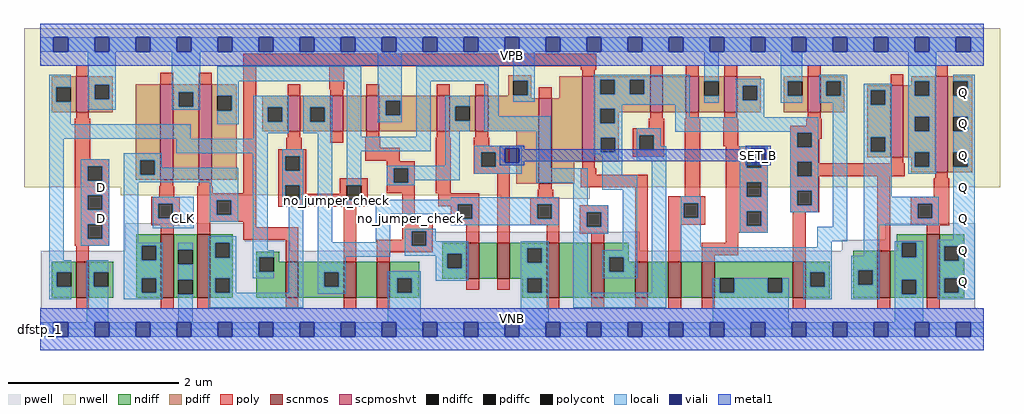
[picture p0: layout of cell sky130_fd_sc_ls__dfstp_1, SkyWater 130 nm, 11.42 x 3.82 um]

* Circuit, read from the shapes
.subckt sky130_fd_sc_ls__dfstp_1 CLK D SET_B VGND VNB VPB VPWR Q
XM1 VGND D n1 VNB sky130_fd_pr__nfet_01v8 w=0.42 l=0.15
XM2 VGND CLK n2 VNB sky130_fd_pr__nfet_01v8 w=0.74 l=0.15
XM3 n3 n2 VGND VNB sky130_fd_pr__nfet_01v8 w=0.74 l=0.15
XM4 n4 n2 n1 VNB sky130_fd_pr__nfet_01v8 w=0.42 l=0.15
XM5 n5 n3 n4 VNB sky130_fd_pr__nfet_01v8 w=0.42 l=0.15
XM6 VGND n6 n5 VNB sky130_fd_pr__nfet_01v8 w=0.42 l=0.15
XM7 n7 n4 n6 VNB sky130_fd_pr__nfet_01v8 w=0.42 l=0.15
XM8 VGND SET_B n7 VNB sky130_fd_pr__nfet_01v8 w=0.42 l=0.15
XM9 n8 n4 VGND VNB sky130_fd_pr__nfet_01v8 w=0.64 l=0.15
XM10 n9 n3 n8 VNB sky130_fd_pr__nfet_01v8 w=0.64 l=0.15
XM11 n10 n2 n9 VNB sky130_fd_pr__nfet_01v8 w=0.42 l=0.15
XM12 n11 n12 n10 VNB sky130_fd_pr__nfet_01v8 w=0.42 l=0.15
XM13 VGND SET_B n11 VNB sky130_fd_pr__nfet_01v8 w=0.42 l=0.15
XM14 n12 n9 VGND VNB sky130_fd_pr__nfet_01v8 w=0.42 l=0.15
XM15 VGND n9 n13 VNB sky130_fd_pr__nfet_01v8 w=0.55 l=0.15
XM16 Q n13 VGND VNB sky130_fd_pr__nfet_01v8 w=0.74 l=0.15
XM17 VPWR D n1 VPB sky130_fd_pr__pfet_01v8_hvt w=0.42 l=0.15
XM18 VPWR CLK n2 VPB sky130_fd_pr__pfet_01v8_hvt w=1.12 l=0.15
XM19 n3 n2 VPWR VPB sky130_fd_pr__pfet_01v8_hvt w=1.12 l=0.15
XM20 n4 n3 n1 VPB sky130_fd_pr__pfet_01v8_hvt w=0.42 l=0.15
XM21 n14 n2 n4 VPB sky130_fd_pr__pfet_01v8_hvt w=0.42 l=0.15
XM22 VPWR n6 n14 VPB sky130_fd_pr__pfet_01v8_hvt w=0.42 l=0.15
XM23 n6 n4 VPWR VPB sky130_fd_pr__pfet_01v8_hvt w=0.42 l=0.15
XM24 VPWR SET_B n6 VPB sky130_fd_pr__pfet_01v8_hvt w=0.42 l=0.15
XM25 n15 n4 VPWR VPB sky130_fd_pr__pfet_01v8_hvt w=1 l=0.15
XM26 n9 n2 n15 VPB sky130_fd_pr__pfet_01v8_hvt w=1 l=0.15
XM27 n16 n3 n9 VPB sky130_fd_pr__pfet_01v8_hvt w=0.42 l=0.15
XM28 VPWR n12 n16 VPB sky130_fd_pr__pfet_01v8_hvt w=0.42 l=0.15
XM29 n9 SET_B VPWR VPB sky130_fd_pr__pfet_01v8_hvt w=0.42 l=0.15
XM30 n12 n9 VPWR VPB sky130_fd_pr__pfet_01v8_hvt w=0.42 l=0.15
XM31 VPWR n9 n13 VPB sky130_fd_pr__pfet_01v8_hvt w=0.84 l=0.15
XM32 Q n13 VPWR VPB sky130_fd_pr__pfet_01v8_hvt w=1.12 l=0.15
.ends

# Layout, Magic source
magic
tech sky130A
magscale 1 2
<< nwell >>
rect -38 332 2246 704
rect 188 314 1286 332
rect 1078 305 1286 314
<< pwell >>
rect 199 207 477 248
rect 199 184 585 207
rect 915 184 1403 228
rect 1978 210 2188 248
rect 1876 184 2188 210
rect 1 49 2188 184
rect 0 0 2208 49
<< scnmos >>
rect 84 74 114 158
rect 282 74 312 222
rect 368 74 398 222
rect 574 74 604 158
rect 710 74 740 158
rect 788 74 818 158
rect 997 118 1027 202
rect 1069 118 1099 202
rect 1185 74 1215 202
rect 1290 74 1320 202
rect 1392 74 1422 158
rect 1470 74 1500 158
rect 1548 74 1578 158
rect 1761 74 1791 158
rect 1959 74 1989 184
rect 2075 74 2105 222
<< scpmoshvt >>
rect 84 508 114 592
rect 281 350 311 574
rect 371 350 401 574
rect 579 463 609 547
rect 679 463 709 547
rect 763 463 793 547
rect 928 463 958 547
rect 1018 463 1048 547
rect 1167 341 1197 541
rect 1268 392 1298 592
rect 1427 508 1457 592
rect 1511 508 1541 592
rect 1601 508 1631 592
rect 1796 508 1826 592
rect 1990 403 2020 571
rect 2094 368 2124 592
<< ndiff >>
rect 225 196 282 222
rect 225 162 237 196
rect 271 162 282 196
rect 27 133 84 158
rect 27 99 39 133
rect 73 99 84 133
rect 27 74 84 99
rect 114 133 171 158
rect 114 99 125 133
rect 159 99 171 133
rect 114 74 171 99
rect 225 120 282 162
rect 225 86 237 120
rect 271 86 282 120
rect 225 74 282 86
rect 312 186 368 222
rect 312 152 323 186
rect 357 152 368 186
rect 312 116 368 152
rect 312 82 323 116
rect 357 82 368 116
rect 312 74 368 82
rect 398 202 451 222
rect 398 168 409 202
rect 443 168 451 202
rect 398 120 451 168
rect 398 86 409 120
rect 443 86 451 120
rect 398 74 451 86
rect 505 169 559 181
rect 505 135 513 169
rect 547 158 559 169
rect 941 177 997 202
rect 547 135 574 158
rect 505 74 574 135
rect 604 133 710 158
rect 604 99 665 133
rect 699 99 710 133
rect 604 74 710 99
rect 740 74 788 158
rect 818 120 887 158
rect 818 86 835 120
rect 869 86 887 120
rect 941 143 952 177
rect 986 143 997 177
rect 941 118 997 143
rect 1027 118 1069 202
rect 1099 190 1185 202
rect 1099 156 1140 190
rect 1174 156 1185 190
rect 1099 120 1185 156
rect 1099 118 1140 120
rect 818 74 887 86
rect 1128 86 1140 118
rect 1174 86 1185 120
rect 1128 74 1185 86
rect 1215 74 1290 202
rect 1320 169 1377 202
rect 1320 135 1331 169
rect 1365 158 1377 169
rect 2004 203 2075 222
rect 2004 184 2016 203
rect 1365 135 1392 158
rect 1320 74 1392 135
rect 1422 74 1470 158
rect 1500 74 1548 158
rect 1578 120 1761 158
rect 1578 86 1590 120
rect 1624 86 1702 120
rect 1736 86 1761 120
rect 1578 74 1761 86
rect 1791 133 1848 158
rect 1791 99 1802 133
rect 1836 99 1848 133
rect 1791 74 1848 99
rect 1902 138 1959 184
rect 1902 104 1914 138
rect 1948 104 1959 138
rect 1902 74 1959 104
rect 1989 169 2016 184
rect 2050 169 2075 203
rect 1989 116 2075 169
rect 1989 82 2016 116
rect 2050 82 2075 116
rect 1989 74 2075 82
rect 2105 194 2162 222
rect 2105 160 2116 194
rect 2150 160 2162 194
rect 2105 120 2162 160
rect 2105 86 2116 120
rect 2150 86 2162 120
rect 2105 74 2162 86
<< pdiff >>
rect 27 567 84 592
rect 27 533 37 567
rect 71 533 84 567
rect 27 508 84 533
rect 114 572 170 592
rect 114 538 127 572
rect 161 538 170 572
rect 114 508 170 538
rect 224 396 281 574
rect 224 362 234 396
rect 268 362 281 396
rect 224 350 281 362
rect 311 555 371 574
rect 311 521 324 555
rect 358 521 371 555
rect 311 350 371 521
rect 401 546 460 574
rect 401 512 414 546
rect 448 512 460 546
rect 401 350 460 512
rect 1095 582 1149 594
rect 1095 548 1107 582
rect 1141 548 1149 582
rect 1095 547 1149 548
rect 520 520 579 547
rect 520 486 532 520
rect 566 486 579 520
rect 520 463 579 486
rect 609 520 679 547
rect 609 486 632 520
rect 666 486 679 520
rect 609 463 679 486
rect 709 463 763 547
rect 793 535 928 547
rect 793 501 809 535
rect 843 501 928 535
rect 793 463 928 501
rect 958 522 1018 547
rect 958 488 971 522
rect 1005 488 1018 522
rect 958 463 1018 488
rect 1048 541 1149 547
rect 1215 541 1268 592
rect 1048 463 1167 541
rect 1114 341 1167 463
rect 1197 392 1268 541
rect 1298 584 1427 592
rect 1298 550 1311 584
rect 1345 550 1380 584
rect 1414 550 1427 584
rect 1298 516 1427 550
rect 1298 482 1311 516
rect 1345 508 1427 516
rect 1457 508 1511 592
rect 1541 580 1601 592
rect 1541 546 1554 580
rect 1588 546 1601 580
rect 1541 508 1601 546
rect 1631 570 1686 592
rect 1631 536 1644 570
rect 1678 536 1686 570
rect 1631 508 1686 536
rect 1740 580 1796 592
rect 1740 546 1749 580
rect 1783 546 1796 580
rect 1740 508 1796 546
rect 1826 580 1881 592
rect 1826 546 1839 580
rect 1873 546 1881 580
rect 2038 580 2094 592
rect 2038 571 2047 580
rect 1826 508 1881 546
rect 1935 559 1990 571
rect 1935 525 1943 559
rect 1977 525 1990 559
rect 1345 482 1354 508
rect 1298 448 1354 482
rect 1298 414 1312 448
rect 1346 414 1354 448
rect 1298 392 1354 414
rect 1197 341 1250 392
rect 1935 449 1990 525
rect 1935 415 1943 449
rect 1977 415 1990 449
rect 1935 403 1990 415
rect 2020 546 2047 571
rect 2081 546 2094 580
rect 2020 497 2094 546
rect 2020 463 2047 497
rect 2081 463 2094 497
rect 2020 414 2094 463
rect 2020 403 2047 414
rect 2038 380 2047 403
rect 2081 380 2094 414
rect 2038 368 2094 380
rect 2124 580 2181 592
rect 2124 546 2137 580
rect 2171 546 2181 580
rect 2124 497 2181 546
rect 2124 463 2137 497
rect 2171 463 2181 497
rect 2124 414 2181 463
rect 2124 380 2137 414
rect 2171 380 2181 414
rect 2124 368 2181 380
<< ndiffc >>
rect 237 162 271 196
rect 39 99 73 133
rect 125 99 159 133
rect 237 86 271 120
rect 323 152 357 186
rect 323 82 357 116
rect 409 168 443 202
rect 409 86 443 120
rect 513 135 547 169
rect 665 99 699 133
rect 835 86 869 120
rect 952 143 986 177
rect 1140 156 1174 190
rect 1140 86 1174 120
rect 1331 135 1365 169
rect 1590 86 1624 120
rect 1702 86 1736 120
rect 1802 99 1836 133
rect 1914 104 1948 138
rect 2016 169 2050 203
rect 2016 82 2050 116
rect 2116 160 2150 194
rect 2116 86 2150 120
<< pdiffc >>
rect 37 533 71 567
rect 127 538 161 572
rect 234 362 268 396
rect 324 521 358 555
rect 414 512 448 546
rect 1107 548 1141 582
rect 532 486 566 520
rect 632 486 666 520
rect 809 501 843 535
rect 971 488 1005 522
rect 1311 550 1345 584
rect 1380 550 1414 584
rect 1311 482 1345 516
rect 1554 546 1588 580
rect 1644 536 1678 570
rect 1749 546 1783 580
rect 1839 546 1873 580
rect 1943 525 1977 559
rect 1312 414 1346 448
rect 1943 415 1977 449
rect 2047 546 2081 580
rect 2047 463 2081 497
rect 2047 380 2081 414
rect 2137 546 2171 580
rect 2137 463 2171 497
rect 2137 380 2171 414
<< poly >>
rect 84 592 114 618
rect 475 615 1301 645
rect 281 574 311 600
rect 371 574 401 600
rect 84 493 114 508
rect 81 398 117 493
rect 81 382 161 398
rect 81 348 111 382
rect 145 348 161 382
rect 81 314 161 348
rect 281 335 311 350
rect 371 335 401 350
rect 81 280 111 314
rect 145 280 161 314
rect 278 310 314 335
rect 368 318 404 335
rect 475 318 505 615
rect 579 547 609 573
rect 676 562 712 615
rect 1265 607 1301 615
rect 1268 592 1298 607
rect 1427 592 1457 618
rect 1511 592 1541 618
rect 1601 592 1631 618
rect 1796 592 1826 618
rect 679 547 709 562
rect 763 547 793 573
rect 928 547 958 573
rect 1018 547 1048 573
rect 1167 541 1197 567
rect 579 448 609 463
rect 576 421 612 448
rect 679 437 709 463
rect 763 448 793 463
rect 928 448 958 463
rect 1018 448 1048 463
rect 760 425 796 448
rect 81 246 161 280
rect 81 212 111 246
rect 145 212 161 246
rect 260 294 326 310
rect 260 260 276 294
rect 310 260 326 294
rect 260 244 326 260
rect 368 302 505 318
rect 368 268 413 302
rect 447 268 505 302
rect 557 405 623 421
rect 557 371 573 405
rect 607 371 623 405
rect 760 395 841 425
rect 557 337 623 371
rect 811 393 841 395
rect 811 377 877 393
rect 557 303 573 337
rect 607 317 623 337
rect 701 337 767 353
rect 701 317 717 337
rect 607 303 717 317
rect 751 303 767 337
rect 811 343 827 377
rect 861 343 877 377
rect 811 318 877 343
rect 925 318 961 448
rect 1015 430 1051 448
rect 1015 414 1099 430
rect 1015 380 1032 414
rect 1066 380 1099 414
rect 1015 364 1099 380
rect 557 287 767 303
rect 368 252 505 268
rect 282 222 312 244
rect 368 222 398 252
rect 475 239 505 252
rect 81 196 161 212
rect 84 158 114 196
rect 475 209 604 239
rect 574 158 604 209
rect 710 158 740 287
rect 847 246 877 318
rect 931 293 1027 318
rect 931 288 977 293
rect 961 259 977 288
rect 1011 259 1027 293
rect 847 230 919 246
rect 961 243 1027 259
rect 847 210 869 230
rect 788 196 869 210
rect 903 196 919 230
rect 997 202 1027 243
rect 1069 202 1099 364
rect 1990 571 2020 597
rect 2094 592 2124 618
rect 1427 493 1457 508
rect 1511 493 1541 508
rect 1601 493 1631 508
rect 1796 493 1826 508
rect 1424 470 1460 493
rect 1386 454 1460 470
rect 1386 420 1402 454
rect 1436 420 1460 454
rect 1386 404 1460 420
rect 1268 377 1298 392
rect 1265 362 1301 377
rect 1167 326 1197 341
rect 1265 332 1422 362
rect 1164 309 1200 326
rect 1147 293 1215 309
rect 1147 259 1163 293
rect 1197 259 1215 293
rect 1147 243 1215 259
rect 1185 202 1215 243
rect 1263 274 1329 290
rect 1263 240 1279 274
rect 1313 240 1329 274
rect 1263 224 1329 240
rect 1290 202 1320 224
rect 788 180 919 196
rect 788 158 818 180
rect 997 92 1027 118
rect 1069 92 1099 118
rect 1392 158 1422 332
rect 1508 311 1544 493
rect 1598 428 1634 493
rect 1793 476 1829 493
rect 1755 460 1829 476
rect 1604 412 1703 428
rect 1604 378 1653 412
rect 1687 378 1703 412
rect 1604 344 1703 378
rect 1470 295 1556 311
rect 1470 261 1506 295
rect 1540 261 1556 295
rect 1470 245 1556 261
rect 1604 310 1653 344
rect 1687 310 1703 344
rect 1604 276 1703 310
rect 1470 158 1500 245
rect 1604 242 1653 276
rect 1687 242 1703 276
rect 1755 426 1771 460
rect 1805 446 1829 460
rect 1805 426 1823 446
rect 1755 392 1823 426
rect 1755 358 1771 392
rect 1805 388 1823 392
rect 1990 388 2020 403
rect 1805 358 2023 388
rect 1755 324 1823 358
rect 1755 290 1771 324
rect 1805 290 1823 324
rect 1755 274 1823 290
rect 1604 226 1703 242
rect 1604 203 1634 226
rect 1548 173 1634 203
rect 1548 158 1578 173
rect 1761 158 1791 274
rect 1959 184 1989 358
rect 2094 353 2124 368
rect 2091 310 2127 353
rect 2037 294 2127 310
rect 2037 260 2053 294
rect 2087 260 2127 294
rect 2037 244 2127 260
rect 2075 222 2105 244
rect 84 48 114 74
rect 282 48 312 74
rect 368 48 398 74
rect 574 48 604 74
rect 710 48 740 74
rect 788 48 818 74
rect 1185 48 1215 74
rect 1290 48 1320 74
rect 1392 48 1422 74
rect 1470 48 1500 74
rect 1548 48 1578 74
rect 1761 48 1791 74
rect 1959 48 1989 74
rect 2075 48 2105 74
<< polycont >>
rect 111 348 145 382
rect 111 280 145 314
rect 111 212 145 246
rect 276 260 310 294
rect 413 268 447 302
rect 573 371 607 405
rect 573 303 607 337
rect 717 303 751 337
rect 827 343 861 377
rect 1032 380 1066 414
rect 977 259 1011 293
rect 869 196 903 230
rect 1402 420 1436 454
rect 1163 259 1197 293
rect 1279 240 1313 274
rect 1653 378 1687 412
rect 1506 261 1540 295
rect 1653 310 1687 344
rect 1653 242 1687 276
rect 1771 426 1805 460
rect 1771 358 1805 392
rect 1771 290 1805 324
rect 2053 260 2087 294
<< locali >>
rect 0 649 31 683
rect 65 649 127 683
rect 161 649 223 683
rect 257 649 319 683
rect 353 649 415 683
rect 449 649 511 683
rect 545 649 607 683
rect 641 649 703 683
rect 737 649 799 683
rect 833 649 895 683
rect 929 649 991 683
rect 1025 649 1087 683
rect 1121 649 1183 683
rect 1217 649 1279 683
rect 1313 649 1375 683
rect 1409 649 1471 683
rect 1505 649 1567 683
rect 1601 649 1663 683
rect 1697 649 1759 683
rect 1793 649 1855 683
rect 1889 649 1951 683
rect 1985 649 2047 683
rect 2081 649 2143 683
rect 2177 649 2208 683
rect 21 567 71 596
rect 21 533 37 567
rect 21 480 71 533
rect 111 572 177 649
rect 111 538 127 572
rect 161 538 177 572
rect 111 514 177 538
rect 308 555 374 649
rect 308 521 324 555
rect 358 521 374 555
rect 308 514 374 521
rect 414 581 751 615
rect 414 546 464 581
rect 448 512 464 546
rect 414 480 464 512
rect 498 520 582 547
rect 498 486 532 520
rect 566 486 582 520
rect 21 446 352 480
rect 498 459 582 486
rect 616 520 683 547
rect 616 486 632 520
rect 666 486 683 520
rect 616 459 683 486
rect 498 446 532 459
rect 21 162 55 446
rect 318 412 532 446
rect 95 382 161 398
rect 95 348 111 382
rect 145 348 161 382
rect 95 314 161 348
rect 95 280 111 314
rect 145 280 161 314
rect 95 246 161 280
rect 95 212 111 246
rect 145 212 161 246
rect 95 196 161 212
rect 195 396 284 412
rect 195 362 234 396
rect 268 378 284 396
rect 268 362 463 378
rect 195 344 463 362
rect 195 202 229 344
rect 263 294 359 310
rect 263 260 276 294
rect 310 260 359 294
rect 263 236 359 260
rect 397 302 463 344
rect 397 268 413 302
rect 447 268 463 302
rect 397 252 463 268
rect 393 202 459 218
rect 195 196 287 202
rect 195 162 237 196
rect 271 162 287 196
rect 21 133 73 162
rect 21 99 39 133
rect 21 70 73 99
rect 109 133 159 162
rect 109 99 125 133
rect 109 17 159 99
rect 195 120 287 162
rect 195 86 237 120
rect 271 86 287 120
rect 195 70 287 86
rect 323 186 357 202
rect 323 116 357 152
rect 323 17 357 82
rect 393 168 409 202
rect 443 168 459 202
rect 393 120 459 168
rect 393 86 409 120
rect 443 86 459 120
rect 497 185 532 412
rect 566 405 615 421
rect 566 371 573 405
rect 607 371 615 405
rect 566 337 615 371
rect 566 303 573 337
rect 607 303 615 337
rect 566 287 615 303
rect 497 169 547 185
rect 497 135 513 169
rect 497 119 547 135
rect 393 85 459 86
rect 581 85 615 287
rect 393 51 615 85
rect 649 204 683 459
rect 717 451 751 581
rect 790 535 846 649
rect 790 501 809 535
rect 843 501 846 535
rect 790 485 846 501
rect 880 581 1073 615
rect 880 451 914 581
rect 717 417 914 451
rect 948 522 1005 547
rect 948 488 971 522
rect 948 464 1005 488
rect 1039 498 1073 581
rect 1107 582 1157 649
rect 1141 548 1157 582
rect 1107 532 1157 548
rect 1295 584 1520 596
rect 1295 550 1311 584
rect 1345 550 1380 584
rect 1414 550 1520 584
rect 1295 525 1520 550
rect 1554 580 1588 649
rect 1554 530 1588 546
rect 1628 570 1694 586
rect 1628 536 1644 570
rect 1678 536 1694 570
rect 1295 516 1362 525
rect 1039 464 1195 498
rect 717 337 751 417
rect 948 383 982 464
rect 811 377 982 383
rect 811 343 827 377
rect 861 349 982 377
rect 1016 424 1127 430
rect 1016 414 1087 424
rect 1016 380 1032 414
rect 1066 390 1087 414
rect 1121 390 1127 424
rect 1066 380 1127 390
rect 1016 364 1127 380
rect 1161 377 1195 464
rect 1295 482 1311 516
rect 1345 482 1362 516
rect 1295 448 1362 482
rect 1486 496 1520 525
rect 1628 496 1694 536
rect 1733 580 1783 649
rect 1733 546 1749 580
rect 1733 530 1783 546
rect 1823 580 1889 596
rect 1823 546 1839 580
rect 1873 546 1889 580
rect 2031 580 2097 649
rect 1823 530 1889 546
rect 1295 414 1312 448
rect 1346 414 1362 448
rect 1295 410 1362 414
rect 861 343 877 349
rect 1161 343 1281 377
rect 811 337 877 343
rect 961 303 1213 309
rect 717 287 751 303
rect 785 293 1213 303
rect 785 269 977 293
rect 785 204 819 269
rect 961 259 977 269
rect 1011 259 1163 293
rect 1197 259 1213 293
rect 961 243 1213 259
rect 1247 290 1281 343
rect 1315 360 1362 410
rect 1396 454 1452 471
rect 1486 462 1821 496
rect 1396 420 1402 454
rect 1436 428 1452 454
rect 1755 460 1821 462
rect 1436 420 1465 428
rect 1396 394 1465 420
rect 1315 326 1397 360
rect 1247 274 1329 290
rect 1247 240 1279 274
rect 1313 240 1329 274
rect 649 170 819 204
rect 853 230 925 235
rect 853 196 869 230
rect 903 206 925 230
rect 1247 224 1329 240
rect 903 196 1002 206
rect 853 177 1002 196
rect 853 172 952 177
rect 649 133 715 170
rect 925 143 952 172
rect 986 143 1002 177
rect 649 99 665 133
rect 699 99 715 133
rect 649 83 715 99
rect 813 120 891 136
rect 813 86 835 120
rect 869 86 891 120
rect 925 114 1002 143
rect 1124 190 1190 206
rect 1124 156 1140 190
rect 1174 156 1190 190
rect 1124 120 1190 156
rect 813 17 891 86
rect 1124 86 1140 120
rect 1174 86 1190 120
rect 1124 17 1190 86
rect 1247 85 1281 224
rect 1363 185 1397 326
rect 1315 169 1397 185
rect 1315 135 1331 169
rect 1365 135 1397 169
rect 1315 119 1397 135
rect 1431 85 1465 394
rect 1637 424 1703 428
rect 1637 412 1663 424
rect 1637 378 1653 412
rect 1697 390 1703 424
rect 1687 378 1703 390
rect 1637 344 1703 378
rect 1499 295 1546 311
rect 1499 261 1506 295
rect 1540 261 1546 295
rect 1499 192 1546 261
rect 1637 310 1653 344
rect 1687 310 1703 344
rect 1637 276 1703 310
rect 1637 242 1653 276
rect 1687 242 1703 276
rect 1755 426 1771 460
rect 1805 426 1821 460
rect 1755 392 1821 426
rect 1755 358 1771 392
rect 1805 358 1821 392
rect 1755 324 1821 358
rect 1755 290 1771 324
rect 1805 290 1821 324
rect 1755 274 1821 290
rect 1637 226 1703 242
rect 1855 240 1889 530
rect 1818 206 1889 240
rect 1927 559 1993 575
rect 1927 525 1943 559
rect 1977 525 1993 559
rect 1927 449 1993 525
rect 1927 415 1943 449
rect 1977 415 1993 449
rect 1927 310 1993 415
rect 2031 546 2047 580
rect 2081 546 2097 580
rect 2031 497 2097 546
rect 2031 463 2047 497
rect 2081 463 2097 497
rect 2031 414 2097 463
rect 2031 380 2047 414
rect 2081 380 2097 414
rect 2031 364 2097 380
rect 2137 580 2187 596
rect 2171 546 2187 580
rect 2137 497 2187 546
rect 2171 463 2187 497
rect 2137 414 2187 463
rect 2171 380 2187 414
rect 1927 294 2103 310
rect 1927 260 2053 294
rect 2087 260 2103 294
rect 1927 244 2103 260
rect 1818 192 1852 206
rect 1499 158 1852 192
rect 1927 172 1964 244
rect 2137 210 2187 380
rect 1786 133 1852 158
rect 1247 51 1465 85
rect 1574 86 1590 120
rect 1624 86 1702 120
rect 1736 86 1752 120
rect 1574 17 1752 86
rect 1786 99 1802 133
rect 1836 99 1852 133
rect 1786 70 1852 99
rect 1898 138 1964 172
rect 1898 104 1914 138
rect 1948 104 1964 138
rect 1898 70 1964 104
rect 2000 203 2066 206
rect 2000 169 2016 203
rect 2050 169 2066 203
rect 2000 116 2066 169
rect 2000 82 2016 116
rect 2050 82 2066 116
rect 2000 17 2066 82
rect 2100 194 2187 210
rect 2100 160 2116 194
rect 2150 160 2187 194
rect 2100 120 2187 160
rect 2100 86 2116 120
rect 2150 86 2187 120
rect 2100 70 2187 86
rect 0 -17 31 17
rect 65 -17 127 17
rect 161 -17 223 17
rect 257 -17 319 17
rect 353 -17 415 17
rect 449 -17 511 17
rect 545 -17 607 17
rect 641 -17 703 17
rect 737 -17 799 17
rect 833 -17 895 17
rect 929 -17 991 17
rect 1025 -17 1087 17
rect 1121 -17 1183 17
rect 1217 -17 1279 17
rect 1313 -17 1375 17
rect 1409 -17 1471 17
rect 1505 -17 1567 17
rect 1601 -17 1663 17
rect 1697 -17 1759 17
rect 1793 -17 1855 17
rect 1889 -17 1951 17
rect 1985 -17 2047 17
rect 2081 -17 2143 17
rect 2177 -17 2208 17
<< viali >>
rect 31 649 65 683
rect 127 649 161 683
rect 223 649 257 683
rect 319 649 353 683
rect 415 649 449 683
rect 511 649 545 683
rect 607 649 641 683
rect 703 649 737 683
rect 799 649 833 683
rect 895 649 929 683
rect 991 649 1025 683
rect 1087 649 1121 683
rect 1183 649 1217 683
rect 1279 649 1313 683
rect 1375 649 1409 683
rect 1471 649 1505 683
rect 1567 649 1601 683
rect 1663 649 1697 683
rect 1759 649 1793 683
rect 1855 649 1889 683
rect 1951 649 1985 683
rect 2047 649 2081 683
rect 2143 649 2177 683
rect 1087 390 1121 424
rect 1663 412 1697 424
rect 1663 390 1687 412
rect 1687 390 1697 412
rect 31 -17 65 17
rect 127 -17 161 17
rect 223 -17 257 17
rect 319 -17 353 17
rect 415 -17 449 17
rect 511 -17 545 17
rect 607 -17 641 17
rect 703 -17 737 17
rect 799 -17 833 17
rect 895 -17 929 17
rect 991 -17 1025 17
rect 1087 -17 1121 17
rect 1183 -17 1217 17
rect 1279 -17 1313 17
rect 1375 -17 1409 17
rect 1471 -17 1505 17
rect 1567 -17 1601 17
rect 1663 -17 1697 17
rect 1759 -17 1793 17
rect 1855 -17 1889 17
rect 1951 -17 1985 17
rect 2047 -17 2081 17
rect 2143 -17 2177 17
<< metal1 >>
rect 0 683 2208 715
rect 0 649 31 683
rect 65 649 127 683
rect 161 649 223 683
rect 257 649 319 683
rect 353 649 415 683
rect 449 649 511 683
rect 545 649 607 683
rect 641 649 703 683
rect 737 649 799 683
rect 833 649 895 683
rect 929 649 991 683
rect 1025 649 1087 683
rect 1121 649 1183 683
rect 1217 649 1279 683
rect 1313 649 1375 683
rect 1409 649 1471 683
rect 1505 649 1567 683
rect 1601 649 1663 683
rect 1697 649 1759 683
rect 1793 649 1855 683
rect 1889 649 1951 683
rect 1985 649 2047 683
rect 2081 649 2143 683
rect 2177 649 2208 683
rect 0 617 2208 649
rect 1075 424 1133 430
rect 1075 390 1087 424
rect 1121 421 1133 424
rect 1651 424 1709 430
rect 1651 421 1663 424
rect 1121 393 1663 421
rect 1121 390 1133 393
rect 1075 384 1133 390
rect 1651 390 1663 393
rect 1697 390 1709 424
rect 1651 384 1709 390
rect 0 17 2208 49
rect 0 -17 31 17
rect 65 -17 127 17
rect 161 -17 223 17
rect 257 -17 319 17
rect 353 -17 415 17
rect 449 -17 511 17
rect 545 -17 607 17
rect 641 -17 703 17
rect 737 -17 799 17
rect 833 -17 895 17
rect 929 -17 991 17
rect 1025 -17 1087 17
rect 1121 -17 1183 17
rect 1217 -17 1279 17
rect 1313 -17 1375 17
rect 1409 -17 1471 17
rect 1505 -17 1567 17
rect 1601 -17 1663 17
rect 1697 -17 1759 17
rect 1793 -17 1855 17
rect 1889 -17 1951 17
rect 1985 -17 2047 17
rect 2081 -17 2143 17
rect 2177 -17 2208 17
rect 0 -49 2208 -17
<< labels >>
rlabel comment s 0 0 0 0 4 dfstp_1
flabel comment s 866 259 866 259 0 FreeSans 200 0 0 0 no_jumper_check
flabel comment s 693 302 693 302 0 FreeSans 200 0 0 0 no_jumper_check
flabel pwell s 0 0 2208 49 0 FreeSans 200 0 0 0 VNB
port 5 nsew ground bidirectional
flabel nwell s 0 617 2208 666 0 FreeSans 200 0 0 0 VPB
port 6 nsew power bidirectional
flabel metal1 s 1663 390 1697 424 0 FreeSans 340 0 0 0 SET_B
port 3 nsew signal input
flabel metal1 s 0 617 2208 666 0 FreeSans 340 0 0 0 VPWR
port 7 nsew power bidirectional abutment
flabel metal1 s 0 0 2208 49 0 FreeSans 340 0 0 0 VGND
port 4 nsew ground bidirectional abutment
flabel locali s 2143 94 2177 128 0 FreeSans 340 0 0 0 Q
port 8 nsew signal output
flabel locali s 2143 168 2177 202 0 FreeSans 340 0 0 0 Q
port 8 nsew signal output
flabel locali s 2143 242 2177 276 0 FreeSans 340 0 0 0 Q
port 8 nsew signal output
flabel locali s 2143 316 2177 350 0 FreeSans 340 0 0 0 Q
port 8 nsew signal output
flabel locali s 2143 390 2177 424 0 FreeSans 340 0 0 0 Q
port 8 nsew signal output
flabel locali s 2143 464 2177 498 0 FreeSans 340 0 0 0 Q
port 8 nsew signal output
flabel locali s 2143 538 2177 572 0 FreeSans 340 0 0 0 Q
port 8 nsew signal output
flabel locali s 127 242 161 276 0 FreeSans 340 0 0 0 D
port 2 nsew signal input
flabel locali s 127 316 161 350 0 FreeSans 340 0 0 0 D
port 2 nsew signal input
flabel locali s 319 242 353 276 0 FreeSans 340 0 0 0 CLK
port 1 nsew clock input
<< properties >>
string LEFsite unit
string LEFclass CORE
string FIXED_BBOX 0 0 2208 666
string GDS_FILE $PDKPATH/libs.ref/sky130_fd_sc_ls/gds/sky130_fd_sc_ls.gds
string LEFsymmetry X Y
string GDS_END 301114
string GDS_START 283700
<< end >>
